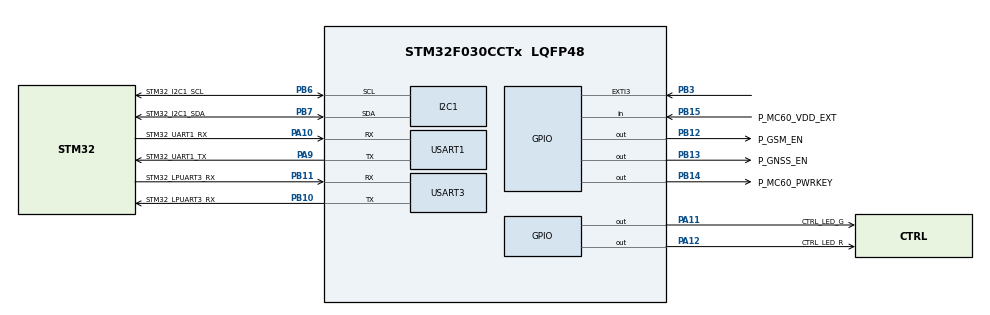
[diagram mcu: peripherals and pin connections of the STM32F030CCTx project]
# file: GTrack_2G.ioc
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Mcu.Family=STM32F0
Mcu.Name=STM32F030CCTx
Mcu.Package=LQFP48
NVIC.EXTI2_3_IRQn=true\:0\:0\:false\:false\:true\:true\:true\:true
NVIC.I2C1_IRQn=true\:0\:0\:false\:false\:true\:true\:true\:true
NVIC.USART1_IRQn=true\:0\:0\:false\:false\:true\:true\:true\:true
NVIC.USART3_6_IRQn=true\:0\:0\:false\:false\:true\:true\:true\:true
PA10.GPIO_Label=STM32_UART1_RX
PA10.Mode=Asynchronous
PA10.Signal=USART1_RX
PA11.GPIO_Label=CTRL_LED_G
PA11.Signal=GPIO_Output
PA12.GPIO_Label=CTRL_LED_R
PA12.Signal=GPIO_Output
PA13.Mode=Serial_Wire
PA13.Signal=SYS_SWDIO
PA14.Mode=Serial_Wire
PA14.Signal=SYS_SWCLK
PA9.GPIO_Label=STM32_UART1_TX
PA9.Mode=Asynchronous
PA9.Signal=USART1_TX
PB10.GPIO_Label=STM32_LPUART3_RX
PB10.Mode=Asynchronous
PB10.Signal=USART3_TX
PB11.GPIO_Label=STM32_LPUART3_RX
PB11.Mode=Asynchronous
PB11.Signal=USART3_RX
PB12.GPIO_Label=P_GSM_EN
PB12.Signal=GPIO_Output
PB13.GPIO_Label=P_GNSS_EN
PB13.Signal=GPIO_Output
PB14.GPIO_Label=P_MC60_PWRKEY
PB14.Signal=GPIO_Output
PB15.GPIO_Label=P_MC60_VDD_EXT
PB15.Signal=GPIO_Input
PB3.GPIO_PuPd=GPIO_PULLDOWN
PB3.Signal=GPXTI3
PB6.GPIO_Label=STM32_I2C1_SCL
PB6.Mode=I2C
PB6.Signal=I2C1_SCL
PB7.GPIO_Label=STM32_I2C1_SDA
PB7.Mode=I2C
PB7.Signal=I2C1_SDA
ProjectManager.HeapSize=0x200
ProjectManager.StackSize=0x400
ProjectManager.TargetToolchain=MDK-ARM V5.32
USART1.VirtualMode-Asynchronous=VM_ASYNC
USART3.VirtualMode-Asynchronous=VM_ASYNC
board=custom

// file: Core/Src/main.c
//* USER CODE BEGIN Header */
/**
  ******************************************************************************
  * @file           : main.c
  * @brief          : Main program body
  ******************************************************************************
  * @attention
  *
  * Copyright (c) 2024 STMicroelectronics.
  * All rights reserved.
  *
  * This software is licensed under terms that can be found in the LICENSE file
  * in the root directory of this software component.
  * If no LICENSE file comes with this software, it is provided AS-IS.
  *
  ******************************************************************************
  */
/* USER CODE END Header */
#include "main.h"
#include "main.h"
#include "MC60.h"
#include "GNSS_data.h"
#include "BMA253.h"

I2C_HandleTypeDef hi2c1;

UART_HandleTypeDef huart1;
UART_HandleTypeDef huart3;

/* USER CODE BEGIN PV */
#define RX_BUFFER_SIZE 2048
volatile uint8_t rx_buffer[RX_BUFFER_SIZE];
volatile uint8_t rx_index  = 0;
volatile uint8_t rx_buffer_temp[RX_BUFFER_SIZE];
volatile uint8_t rx_index_temp = 0;
volatile uint8_t receive_flag = 0;
/* USER CODE END PV */

void SystemClock_Config(void);
static void MX_GPIO_Init(void);
static void MX_I2C1_Init(void);
static void MX_USART1_UART_Init(void);
static void MX_USART3_UART_Init(void);
/* USER CODE BEGIN PFP */
void UART_Rx_Process(char* response, const char* expectedResponse, const char* ATCommand);
void AGPS_On();
void UART_RxCallback_Process();
char* expectedResponse(const char* ATCommand);
void sendCommandToMC60(const char* ATCommand);
void HandlePublishError();
uint8_t VerifyResponseContent(char* response, const char* expectedResponse);
void MQTT_Process();

/* USER CODE BEGIN PFP */

/* USER CODE END PFP */

/* USER CODE BEGIN 0 */

uint32_t start_time;

void HAL_GPIO_EXTI_Callback(uint16_t GPIO_Pin){
	if(GPIO_Pin == GPIO_PIN_3){
			HAL_ResumeTick();
			start_time = HAL_GetTick();
	}
}

void UART_RxCallback_Process(){
	if (rx_buffer[rx_index] == '\n') {
            if (rx_index > 0 && rx_buffer[rx_index - 1] == '\r') {
                rx_buffer[rx_index - 1] = '\n';
								rx_buffer[rx_index] = '\0';
            }	else {
                rx_buffer[rx_index] = '\0';
            }
						memcpy(rx_buffer_temp + rx_index_temp, rx_buffer, strlen((const char *)rx_buffer));
						rx_index_temp += strlen((const char *)rx_buffer);
						rx_index = 0;	// Nhan du lieu moi
            receive_flag = 1;
        } else {
            rx_index++;
						if (rx_index >= RX_BUFFER_SIZE - 1) {
						rx_index = 0; // Tránh tràn buffer
						}
        }
        HAL_UART_Receive_IT(&huart3, &rx_buffer[rx_index], 1); // San sang nhan ky tu tiep theo
}

void HAL_UART_RxCpltCallback(UART_HandleTypeDef *huart) {
	if (huart->Instance == USART3) {
        UART_RxCallback_Process();
  }
}
char* expectedResponse(const char* ATCommand){
		char* expected_response = (char*)malloc(20);
		if (strstr(ATCommand, "AT+CPIN?")){
				strcpy(expected_response, "+CPIN: READY");
		}
		else if (strstr(ATCommand, "AT+CREG?;+CGREG?")){
				strcpy(expected_response, "+CREG: 0,1\n\n+CGREG: 0,1");
		}
		else if (strstr(ATCommand, "AT+CREG?")){
				strcpy(expected_response, "+CREG: 0,2");
		}
		else if (strstr(ATCommand, "AT+QIFGCNT=2") || strstr(ATCommand, "AT+QICSGP=1") || strstr(ATCommand, "AT+QGNSSEPO=1") || strstr(ATCommand, "AT+QGNSSC=1")){
				strcpy(expected_response, "OK");
		}
		else if (strstr(ATCommand, "AT+QMTOPEN=")){
				strcpy(expected_response, "+QMTOPEN: 0,0");
		}
		else if (strstr(ATCommand, "AT+QMTCONN=")){
				strcpy(expected_response, "+QMTCONN: 0,0,0");
		}
		else if (strstr(ATCommand, "AT+QMTPUB=")){
				strcpy(expected_response, "+QMTPUB: 0,0,0");
		}
		else if (strstr(ATCommand, "AT+QMTDISC=0")){
				strcpy(expected_response, "+QMTDISC: 0,0");
		}
		else strcpy(expected_response, "OK");
		return expected_response;
}

void sendCommandToMC60(const char* ATCommand) {
		if(strstr(ATCommand, "AT+QMTPUB=")){
				MC60_Server_Pub(&huart3);
		}
		else {
    HAL_UART_Transmit(&huart3, (uint8_t*)ATCommand, strlen(ATCommand), HAL_MAX_DELAY); // G?i l?nh qua UART3
		}
		HAL_Delay(1000);
		char* expected_response = expectedResponse(ATCommand);
		UART_Rx_Process(rx_buffer_temp, expected_response, ATCommand);
		free(expected_response);
}

void HandlePublishError(){
		sendCommandToMC60("AT+QMTOPEN=0,\"io.adafruit.com\",1883\r\n");
		sendCommandToMC60("AT+QMTCONN=0,\"Duc\",\"ductran143\",\"aio_fXMj751Ph1Q36BzoARbP9e1xztJQ\"\r\n");
		//MC60_Server_Pub(&huart3);
}

uint8_t VerifyResponseContent(char* response, const char* expectedResponse){
		if (strstr(response,expectedResponse) != NULL) return 1;
		else return 0;
}
int count = 0;
void UART_Rx_Process(char* response, const char* expectedResponse, const char* ATCommand) {

    if (receive_flag) {
        HAL_UART_Transmit(&huart1, (uint8_t*)response, strlen((const char *)response), HAL_MAX_DELAY);
				if(strstr(ATCommand, "AT+QGNSSRD")){
						rmc_data = get_sentence_by_header(response,"GNRMC");
				}
				uint8_t isTrue = VerifyResponseContent(response, expectedResponse);
        memset(response, '\0', RX_BUFFER_SIZE); // Lam sach buffer sau khi dã x? lý
        receive_flag = 0; // Reset flag
				rx_index_temp = 0;
				if (!isTrue) {
						if (strstr(ATCommand,"AT+QMTPUB=")){
								HandlePublishError();
								isTrue = 0;
						}
						else if(strstr(ATCommand,"AT+CREG?;+CGREG?")){
									//sendCommandToMC60("AT+QICSGP=1,\"m-wap\",\"mms\",\"mms\"\r\n");
									//isTrue = 0;
									count++;
									if(count == 3) {
										count = 0;
										NVIC_SystemReset();
									}
						}

						else {
								sendCommandToMC60(ATCommand);
								isTrue = 0;
						}
				}
    }

}
// MQTT process
uint8_t tmp = 1;
void MQTT_Process(){
		if(tmp){
			//sendCommandToMC60("AT+QMTDISC=0\r\n");
			sendCommandToMC60("AT+QMTOPEN=0,\"io.adafruit.com\",1883\r\n");
			sendCommandToMC60("AT+QMTCONN=0,\"Duc\",\"ductran143\",\"aio_yvzd63qSCyn36SvE88pLXkBVWt4c\"\r\n");
			tmp = 0;
		}

		MC60_Server_Pub(&huart3);
		//MC60_GSM_GNSS_Status(&huart1);

}
// Activate AGPS
void AGPS_On(){
		sendCommandToMC60("AT+QIFGCNT=2\r\n");
		sendCommandToMC60("AT+QICSGP=1,\"m-wap\",\"mms\",\"mms\"\r\n");
		HAL_Delay(5000);
		sendCommandToMC60("AT+CREG?;+CGREG?\r\n");
		sendCommandToMC60("AT+QGNSSTS?\r\n");
		sendCommandToMC60("AT+QGREFLOC=21.04196,105.786865\r\n");
		sendCommandToMC60("AT+QGNSSEPO=1\r\n");
		HAL_Delay(20000);
		sendCommandToMC60("AT+QGNSSC=1\r\n");
		HAL_Delay(1000);
		HAL_GPIO_WritePin(GPIOB, GPIO_PIN_13, 1);
}
/* USER CODE END 0 */

void Init_System(){

	HAL_UART_Receive_IT(&huart3, rx_buffer, 1); // Start receiving data from MC60

	MC60_PowerOn();
	AGPS_On();
	configureNoMotionInterrupt(&hi2c1);

}
/* USER CODE END PFP */

int main(void)
{

  /* MCU Configuration--------------------------------------------------------*/

  /* Reset of all peripherals, Initializes the Flash interface and the Systick. */
  HAL_Init();

  /* Configure the system clock */
  SystemClock_Config();

  /* Initialize all configured peripherals */
  MX_GPIO_Init();
  MX_I2C1_Init();
  MX_USART1_UART_Init();
  MX_USART3_UART_Init();

  /* Infinite loop */
  /* USER CODE BEGIN WHILE */
	HAL_GPIO_WritePin(CTRL_LED_G_GPIO_Port,CTRL_LED_G_Pin,1);
	HAL_GPIO_WritePin(CTRL_LED_R_GPIO_Port,CTRL_LED_R_Pin,1);
	Init_System();

  /* USER CODE END 2 */
	int temp = 0;
	while (1)
  {
    /* USER CODE END WHILE */
			//sendCommandToMC60("AT+CBC\r\n");
			//HAL_GPIO_TogglePin(CTRL_LED_G_GPIO_Port,CTRL_LED_G_Pin);
			//HAL_Delay(200);

			uint32_t current_time = HAL_GetTick();
			if(current_time - start_time > 900000){
				HAL_UART_Transmit(&huart1,(uint8_t*)("isStop\n"), strlen("isStop\n"),HAL_MAX_DELAY);
				HAL_Delay(200);
				sendCommandToMC60("AT+QMTDISC=0\r\n");
				tmp = 1;
				HAL_SuspendTick();
				HAL_PWR_EnterSTOPMode(PWR_LOWPOWERREGULATOR_ON, PWR_STOPENTRY_WFI);
			}
			else{
				HAL_UART_Transmit(&huart1,(uint8_t*)("isRunning\n"),strlen("isRunning\n"), HAL_MAX_DELAY);
				HAL_Delay(1000);
				MQTT_Process();
			}
		}
  /* USER CODE END 3 */
}

void SystemClock_Config(void)
{
  RCC_OscInitTypeDef RCC_OscInitStruct = {0};
  RCC_ClkInitTypeDef RCC_ClkInitStruct = {0};
  RCC_PeriphCLKInitTypeDef PeriphClkInit = {0};

  /** Initializes the RCC Oscillators according to the specified parameters
  * in the RCC_OscInitTypeDef structure.
  */
  RCC_OscInitStruct.OscillatorType = RCC_OSCILLATORTYPE_HSI;
  RCC_OscInitStruct.HSIState = RCC_HSI_ON;
  RCC_OscInitStruct.HSICalibrationValue = RCC_HSICALIBRATION_DEFAULT;
  RCC_OscInitStruct.PLL.PLLState = RCC_PLL_NONE;
  if (HAL_RCC_OscConfig(&RCC_OscInitStruct) != HAL_OK)
  {
    Error_Handler();
  }

  /** Initializes the CPU, AHB and APB buses clocks
  */
  RCC_ClkInitStruct.ClockType = RCC_CLOCKTYPE_HCLK|RCC_CLOCKTYPE_SYSCLK
                              |RCC_CLOCKTYPE_PCLK1;
  RCC_ClkInitStruct.SYSCLKSource = RCC_SYSCLKSOURCE_HSI;
  RCC_ClkInitStruct.AHBCLKDivider = RCC_SYSCLK_DIV1;
  RCC_ClkInitStruct.APB1CLKDivider = RCC_HCLK_DIV1;

  if (HAL_RCC_ClockConfig(&RCC_ClkInitStruct, FLASH_LATENCY_0) != HAL_OK)
  {
    Error_Handler();
  }
  PeriphClkInit.PeriphClockSelection = RCC_PERIPHCLK_USART1|RCC_PERIPHCLK_I2C1;
  PeriphClkInit.Usart1ClockSelection = RCC_USART1CLKSOURCE_PCLK1;
  PeriphClkInit.I2c1ClockSelection = RCC_I2C1CLKSOURCE_HSI;
  if (HAL_RCCEx_PeriphCLKConfig(&PeriphClkInit) != HAL_OK)
  {
    Error_Handler();
  }
}

static void MX_I2C1_Init(void)
{

  hi2c1.Instance = I2C1;
  hi2c1.Init.Timing = 0x2000090E;
  hi2c1.Init.OwnAddress1 = 0;
  hi2c1.Init.AddressingMode = I2C_ADDRESSINGMODE_7BIT;
  hi2c1.Init.DualAddressMode = I2C_DUALADDRESS_DISABLE;
  hi2c1.Init.OwnAddress2 = 0;
  hi2c1.Init.OwnAddress2Masks = I2C_OA2_NOMASK;
  hi2c1.Init.GeneralCallMode = I2C_GENERALCALL_DISABLE;
  hi2c1.Init.NoStretchMode = I2C_NOSTRETCH_DISABLE;
  if (HAL_I2C_Init(&hi2c1) != HAL_OK)
  {
    Error_Handler();
  }

  /** Configure Analogue filter
  */
  if (HAL_I2CEx_ConfigAnalogFilter(&hi2c1, I2C_ANALOGFILTER_ENABLE) != HAL_OK)
  {
    Error_Handler();
  }

  /** Configure Digital filter
  */
  if (HAL_I2CEx_ConfigDigitalFilter(&hi2c1, 0) != HAL_OK)
  {
    Error_Handler();
  }

}

static void MX_USART1_UART_Init(void)
{

  huart1.Instance = USART1;
  huart1.Init.BaudRate = 115200;
  huart1.Init.WordLength = UART_WORDLENGTH_8B;
  huart1.Init.StopBits = UART_STOPBITS_1;
  huart1.Init.Parity = UART_PARITY_NONE;
  huart1.Init.Mode = UART_MODE_TX_RX;
  huart1.Init.HwFlowCtl = UART_HWCONTROL_NONE;
  huart1.Init.OverSampling = UART_OVERSAMPLING_16;
  huart1.Init.OneBitSampling = UART_ONE_BIT_SAMPLE_DISABLE;
  huart1.AdvancedInit.AdvFeatureInit = UART_ADVFEATURE_NO_INIT;
  if (HAL_UART_Init(&huart1) != HAL_OK)
  {
    Error_Handler();
  }

}

static void MX_USART3_UART_Init(void)
{

  huart3.Instance = USART3;
  huart3.Init.BaudRate = 115200;
  huart3.Init.WordLength = UART_WORDLENGTH_8B;
  huart3.Init.StopBits = UART_STOPBITS_1;
  huart3.Init.Parity = UART_PARITY_NONE;
  huart3.Init.Mode = UART_MODE_TX_RX;
  huart3.Init.HwFlowCtl = UART_HWCONTROL_NONE;
  huart3.Init.OverSampling = UART_OVERSAMPLING_16;
  huart3.Init.OneBitSampling = UART_ONE_BIT_SAMPLE_DISABLE;
  huart3.AdvancedInit.AdvFeatureInit = UART_ADVFEATURE_NO_INIT;
  if (HAL_UART_Init(&huart3) != HAL_OK)
  {
    Error_Handler();
  }

}

static void MX_GPIO_Init(void)
{
  GPIO_InitTypeDef GPIO_InitStruct = {0};

  /* GPIO Ports Clock Enable */
  __HAL_RCC_GPIOB_CLK_ENABLE();
  __HAL_RCC_GPIOA_CLK_ENABLE();

  /*Configure GPIO pin Output Level */
  HAL_GPIO_WritePin(GPIOB, P_GSM_EN_Pin|P_GNSS_EN_Pin|P_MC60_PWRKEY_Pin, GPIO_PIN_RESET);

  /*Configure GPIO pin Output Level */
  HAL_GPIO_WritePin(GPIOA, CTRL_LED_G_Pin|CTRL_LED_R_Pin, GPIO_PIN_RESET);

  /*Configure GPIO pins : P_GSM_EN_Pin P_GNSS_EN_Pin P_MC60_PWRKEY_Pin */
  GPIO_InitStruct.Pin = P_GSM_EN_Pin|P_GNSS_EN_Pin|P_MC60_PWRKEY_Pin;
  GPIO_InitStruct.Mode = GPIO_MODE_OUTPUT_PP;
  GPIO_InitStruct.Pull = GPIO_NOPULL;
  GPIO_InitStruct.Speed = GPIO_SPEED_FREQ_LOW;
  HAL_GPIO_Init(GPIOB, &GPIO_InitStruct);

  /*Configure GPIO pin : P_MC60_VDD_EXT_Pin */
  GPIO_InitStruct.Pin = P_MC60_VDD_EXT_Pin;
  GPIO_InitStruct.Mode = GPIO_MODE_INPUT;
  GPIO_InitStruct.Pull = GPIO_NOPULL;
  HAL_GPIO_Init(P_MC60_VDD_EXT_GPIO_Port, &GPIO_InitStruct);

  /*Configure GPIO pins : CTRL_LED_G_Pin CTRL_LED_R_Pin */
  GPIO_InitStruct.Pin = CTRL_LED_G_Pin|CTRL_LED_R_Pin;
  GPIO_InitStruct.Mode = GPIO_MODE_OUTPUT_PP;
  GPIO_InitStruct.Pull = GPIO_NOPULL;
  GPIO_InitStruct.Speed = GPIO_SPEED_FREQ_LOW;
  HAL_GPIO_Init(GPIOA, &GPIO_InitStruct);

  /*Configure GPIO pin : PB3 */
  GPIO_InitStruct.Pin = GPIO_PIN_3;
  GPIO_InitStruct.Mode = GPIO_MODE_IT_RISING;
  GPIO_InitStruct.Pull = GPIO_PULLDOWN;
  HAL_GPIO_Init(GPIOB, &GPIO_InitStruct);

  /* EXTI interrupt init*/
  HAL_NVIC_SetPriority(EXTI2_3_IRQn, 0, 0);
  HAL_NVIC_EnableIRQ(EXTI2_3_IRQn);

}

void Error_Handler(void)
{
  __disable_irq();
  while (1)
  {
  }
}
